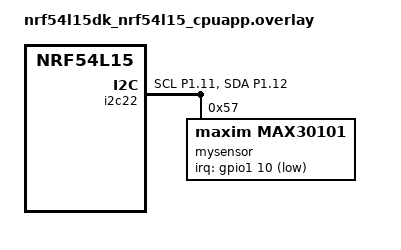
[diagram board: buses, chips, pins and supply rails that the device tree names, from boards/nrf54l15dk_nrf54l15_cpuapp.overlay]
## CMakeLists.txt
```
cmake_minimum_required(VERSION 3.20.0)
find_package(Zephyr REQUIRED HINTS $ENV{ZEPHYR_BASE})
project(max30102)

target_sources(app PRIVATE src/main.c)
```

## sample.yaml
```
sample:
  name: MAX3010x Sensor Sample
tests:
  sample.sensor.max3010x:
    build_only: true
    platform_allow:
      - nrf54l15dk/nrf54l15/cpuapp
    tags:
      - sensors
      - heart rate
    depends_on:
      - i2c
```

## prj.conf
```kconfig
# Zephyr Application Configuration
CONFIG_GPIO=y
CONFIG_I2C=y
CONFIG_CBPRINTF_FP_SUPPORT=y
CONFIG_LOG=y
CONFIG_SENSOR=y
CONFIG_MAX30101=y
CONFIG_MAX30101_TRIGGER_GLOBAL_THREAD=y
CONFIG_UART_ASYNC_API=y
```

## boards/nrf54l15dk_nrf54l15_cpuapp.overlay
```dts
/*
 * SPDX-FileCopyrightText Copyright (c) 2026 Ashirwad Paswan
 *
 * SPDX-License-Identifier: Apache-2.0
 */
&i2c22 {
	status = "okay";
	pinctrl-0 = <&i2c22_default>;
	pinctrl-1 = <&i2c22_sleep>;
	pinctrl-names = "default", "sleep";

	mysensor: mysensor@57 {
		compatible = "maxim,max30101";
		status = "okay";
		irq-gpios = <&gpio1 10 (GPIO_PULL_UP | GPIO_ACTIVE_LOW)>;
		reg = <0x57>;
		smp-ave = <1>;          /* Samples to average (1, 2, 4, 8, 16, 32) */
		fifo-rollover-en;       /* Enable FIFO rollover */
		fifo-watermark = <15>;  /* Interrupt after 15 samples in FIFO */
		acq-mode = "spo2";      /* "heart_rate", "spo2", or "multi_led" */
		adc-rge = <16384>;      /* ADC Range in nA */
		smp-sr = <100>;         /* Sample rate in Hz */
		led-pw = <411>;         /* LED Pulse width in us */
		led-pa = [24 24 24];    /* Current(mA)=RegisterValue×0.2 */
		led-slot = <1 2 0 0>;   /* Slot1: Red,Slot2: IR,Slot3: Green,Slot4: Multi_Led*/
	};
};

&pinctrl {
	/omit-if-no-ref/ i2c22_default: i2c22_default {
		group1 {
			psels = <NRF_PSEL(TWIM_SCL, 1, 11)>,
				<NRF_PSEL(TWIM_SDA, 1, 12)>;
		};
	};

	/omit-if-no-ref/ i2c22_sleep: i2c22_sleep {
		group1 {
			psels = <NRF_PSEL(TWIM_SCL, 1, 11)>,
				<NRF_PSEL(TWIM_SDA, 1, 12)>;
			low-power-enable;
		};
	};
};
```

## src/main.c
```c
/*
 * SPDX-FileCopyrightText Copyright (c) 2026 Ashirwad Paswan
 *
 * SPDX-License-Identifier: Apache-2.0
 */
#include <stdint.h>
#include <zephyr/device.h>
#include <zephyr/devicetree.h>
#include <zephyr/drivers/i2c.h>
#include <zephyr/drivers/sensor.h>
#include <zephyr/kernel.h>
#include <zephyr/logging/log.h>
#include <zephyr/sys/printk.h>
#define I2C_NODE DT_NODELABEL(mysensor)
LOG_MODULE_REGISTER(prj_max30102, LOG_LEVEL_DBG);

void trigger_handler(const struct device *dev, const struct sensor_trigger *trig)
{

	struct sensor_value red, ir;
	/* struct sensor_value green;*/
	int ret;

	ret = sensor_sample_fetch(dev);

	if (ret < 0) {
		LOG_ERR("Failed to fetch sample");
	}
	ret = sensor_channel_get(dev, SENSOR_CHAN_RED, &red);

	if (ret < 0) {
		LOG_ERR("Failed to get red value");
	}
	ret = sensor_channel_get(dev, SENSOR_CHAN_IR, &ir);

	if (ret < 0) {
		LOG_ERR("Failed to get ir value");
	}

	/*
	 * ret = sensor_channel_get(dev, SENSOR_CHAN_GREEN,&green);
	 *
	 * if (ret < 0) {
	 *	LOG_ERR("Failed to get ir value");
	 *
	 *	}
	 */
	printk("Interrupt! Red: %d, IR: %d\n", red.val1, ir.val1);
	/* printk("Interrupt! Red: %d, IR: %d, GREEN: %d\n" red.val1, ir.val1, green.val1);*/
}

int main(void)
{
	static const struct device *max = DEVICE_DT_GET(I2C_NODE);

	if (!device_is_ready(max)) {
		LOG_WRN("I2C bus is not ready!\n\r");
		return -1;
	}
	printk("MAX30102 initialized successfully\n");
	struct sensor_trigger trig = {

		.type = SENSOR_TRIG_FIFO_WATERMARK,
		.chan = SENSOR_CHAN_RED,
	};

	if (sensor_trigger_set(max, &trig, trigger_handler) < 0) {
		LOG_ERR("Could not set trigger");
		return 0;
	}

	LOG_INF("Trigger set, waiting for interrupts...");

	while (1) {
		k_sleep(K_FOREVER);
	}
	return 0;
}
```
